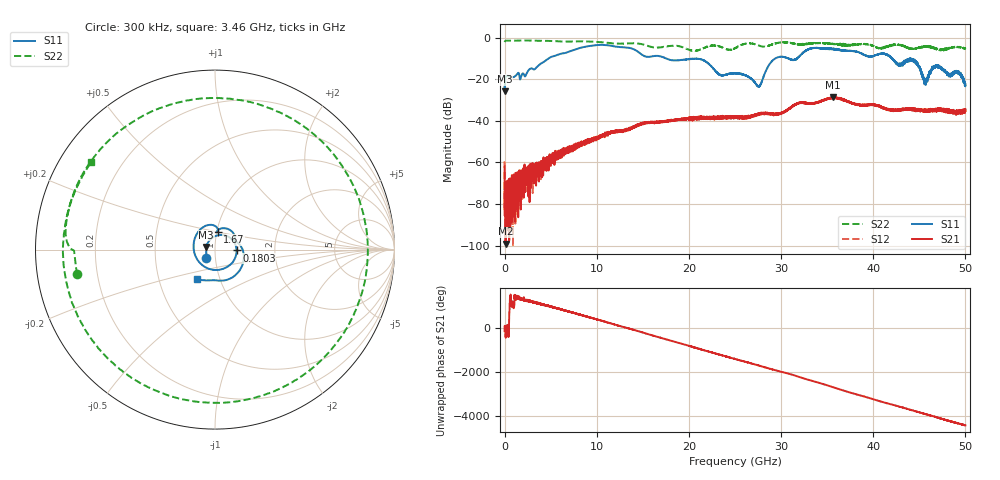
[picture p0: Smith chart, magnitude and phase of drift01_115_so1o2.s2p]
!Created with skrf (http://scikit-rf.org).
# Hz S RI R 50.0
!freq ReS11 ImS11 ReS21 ImS21 ReS12 ImS12 ReS22 ImS22
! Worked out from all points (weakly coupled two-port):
!   10001 points, 300 kHz to 50 GHz, reference 50 ohm
!   highest |S21| = -28.65 dB at 35.6 GHz (marker M1); lowest = -99.1 dB at 110.3 MHz (marker M2)
!   lowest |S11| = -25.8 dB at 5.3 MHz (marker M3), VSWR 1.11, Z = 45.3 + j1.4 ohm
!   |S11| at or under -10 dB: start of sweep to 4.771 GHz; 17.53 GHz to 29.38 GHz (11.86 GHz wide, 50.6 % of centre); 44.01 GHz to end of sweep (the widest 3 of 12)
!   |S22| runs from -6.3 to -1.4 dB; largest |S21 - S12| = 0.0044
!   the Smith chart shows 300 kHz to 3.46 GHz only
!   S11 on the Smith chart (normalised r, x): 300 kHz: 0.90, -0.08; 180.3 MHz: 1.27, -0.01; 1.67 GHz: 1.01, +0.20; 3.46 GHz: 0.78, -0.26
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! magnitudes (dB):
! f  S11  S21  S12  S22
! 300 kHz  -23.5  -61.9  -59.6  -2.1
! 5.3 MHz  -25.8  -71.4  -83.0  -2.1
! 110.3 MHz  -18.8  -99.1  -74.3  -1.5
! 180.3 MHz  -18.4  -78.9  -75.7  -1.4
! 1.67 GHz  -20.0  -66.0  -70.3  -1.4
! 3.46 GHz  -14.3  -61.2  -63.6  -1.5
! 8.335 GHz  -4.8  -51.0  -50.8  -1.8
! 16.67 GHz  -8.8  -40.9  -40.5  -4.8
! 21.22 GHz  -10.3  -38.7  -38.6  -5.7
! 23.39 GHz  -17.9  -38.0  -38.6  -4.3
! 25 GHz  -17.1  -38.1  -38.2  -5.1
! 27.59 GHz  -23.5  -36.6  -36.6  -3.8
! 29.29 GHz  -10.2  -37.0  -36.7  -2.9
! 31.47 GHz  -10.7  -32.3  -32.5  -2.9
! 33.34 GHz  -5.1  -31.6  -31.6  -2.7
! 35.6 GHz  -5.5  -28.7  -28.9  -3.0
! 41.67 GHz  -8.7  -34.6  -35.0  -4.1
! 42.8 GHz  -12.9  -35.1  -34.9  -3.6
! 44.49 GHz  -11.3  -34.5  -34.6  -5.3
! 45.64 GHz  -20.5  -35.2  -35.4  -4.3
! 46.96 GHz  -13.6  -35.1  -34.9  -5.5
! 50 GHz  -22.3  -34.5  -35.6  -5.3
